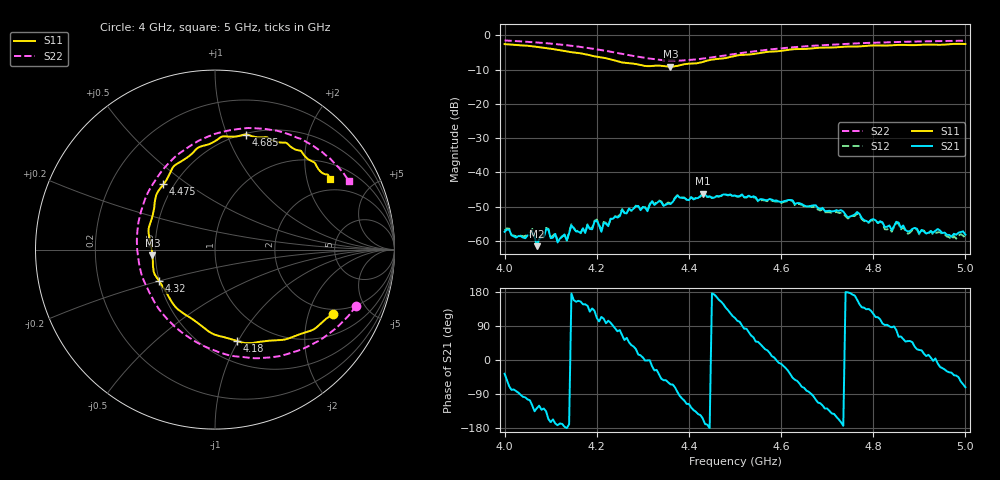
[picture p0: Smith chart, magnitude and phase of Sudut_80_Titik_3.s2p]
# Hz S RI R 50
! CMT, C1220, 16058040, 17.2.0/1
! Date: 15/08/2018 12:37:57
! Data: Format (Calibration Info)
! Freq  S11: Re/Im (F2)  S21: Re/Im (F2)  S12: Re/Im (F2)  S22: Re/Im (F2)
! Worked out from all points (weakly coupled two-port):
!   201 points, 4 GHz to 5 GHz, reference 50 ohm
!   highest |S21| = -46.23 dB at 4.43 GHz (marker M1); lowest = -61.5 dB at 4.07 GHz (marker M2)
!   lowest |S11| = -9.1 dB at 4.36 GHz (marker M3), VSWR 2.08, Z = 24.1 - j1.75 ohm
!   |S11| at or under -10 dB: nowhere
!   |S22| runs from -7.3 to -1.5 dB; largest |S21 - S12| = 0.00025
!   S11 on the Smith chart (normalised r, x): 4 GHz: 1.77, -2.90; 4.18 GHz: 0.71, -0.99; 4.32 GHz: 0.50, -0.20; 4.475 GHz: 0.44, +0.41; 4.685 GHz: 0.51, +1.17; 5 GHz: 1.53, +2.75
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4e9  0.6557 -0.3606  0.0011 -0.000806  0.00116 -0.000816  0.7856 -0.3137
4.06e9  0.5281 -0.4538  -0.000692 -0.0012  -0.000673 -0.00134  0.6665 -0.444
4.07e9  0.502 -0.4617  -0.000508 -0.000666  -0.000522 -0.000713  0.6405 -0.4639
4.09e9  0.4374 -0.4849  -0.00105 -0.00104  -0.00107 -0.00112  0.586 -0.5032
4.115e9  0.3555 -0.5045  -0.000943 -0.000133  -0.00097 -0.000169  0.5074 -0.5444
4.135e9  0.2861 -0.5093  -0.00102 -4.33e-06  -0.00102 -4.2e-05  0.4377 -0.5706
4.145e9  0.246 -0.5141  -0.00168 0.000121  -0.00175 5.2e-05  0.3996 -0.583
4.17e9  0.1538 -0.5182  -0.00128 0.000834  -0.0013 0.000761  0.3029 -0.6009
4.18e9  0.122 -0.5089  -0.00137 0.00103  -0.0014 0.00105  0.2605 -0.6036
4.2e9  0.0495 -0.4874  -0.000723 0.00185  -0.00082 0.00188  0.1751 -0.6011
4.21e9  0.0118 -0.4782  -0.000545 0.00124  -0.000633 0.00131  0.1314 -0.5965
4.255e9  -0.136 -0.3804  0.00119 0.00259  0.0012 0.00267  -0.066 -0.5355
4.32e9  -0.3142 -0.1728  0.00365 -0.00108  0.00369 -0.00107  -0.312 -0.3322
4.335e9  -0.3413 -0.1239  0.00301 -0.00234  0.00306 -0.0024  -0.351 -0.2665
4.36e9  -0.3482 -0.0319  0.0015 -0.00311  0.00147 -0.00321  -0.4052 -0.1512
4.43e9  -0.3389 0.2308  -0.0044 -0.00211  -0.00447 -0.002  -0.4176 0.1915
4.475e9  -0.2875 0.3636  -0.00401 0.0026  -0.0039 0.00271  -0.3379 0.3773
4.5e9  -0.2433 0.4421  -0.00164 0.00431  -0.0016 0.00425  -0.2779 0.46
4.67e9  0.144 0.6351  -0.000301 -0.00329  -0.000338 -0.00313  0.2088 0.6768
4.685e9  0.1701 0.641  -0.00119 -0.00266  -0.00117 -0.00252  0.248 0.6746
4.835e9  0.449 0.5566  3.58e-05 0.00169  3.49e-05 0.00153  0.5513 0.5751
5e9  0.6382 0.3945  0.000381 -0.00117  0.000434 -0.00103  0.7471 0.3818
